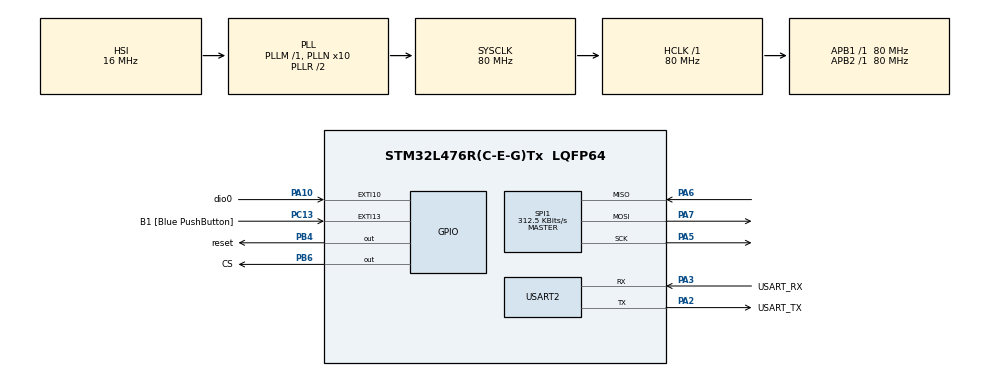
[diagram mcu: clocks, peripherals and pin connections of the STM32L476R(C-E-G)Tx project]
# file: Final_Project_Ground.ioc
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Mcu.Family=STM32L4
Mcu.Name=STM32L476R(C-E-G)Tx
Mcu.Package=LQFP64
NVIC.EXTI15_10_IRQn=true\:0\:0\:false\:false\:true\:true\:true
NVIC.PriorityGroup=NVIC_PRIORITYGROUP_4
NVIC.USART2_IRQn=true\:0\:0\:false\:false\:true\:true\:true
PA10.GPIO_Label=dio0
PA10.Signal=GPXTI10
PA13\ (JTMS-SWDIO).GPIO_Label=TMS
PA13\ (JTMS-SWDIO).Mode=Serial_Wire
PA13\ (JTMS-SWDIO).Signal=SYS_JTMS-SWDIO
PA14\ (JTCK-SWCLK).GPIO_Label=TCK
PA14\ (JTCK-SWCLK).Mode=Serial_Wire
PA14\ (JTCK-SWCLK).Signal=SYS_JTCK-SWCLK
PA2.GPIO_Label=USART_TX
PA2.GPIO_Mode=GPIO_MODE_AF_PP
PA2.GPIO_PuPd=GPIO_NOPULL
PA2.GPIO_Speed=GPIO_SPEED_FREQ_VERY_HIGH
PA2.Mode=Asynchronous
PA2.Signal=USART2_TX
PA3.GPIO_Label=USART_RX
PA3.GPIO_Mode=GPIO_MODE_AF_PP
PA3.GPIO_PuPd=GPIO_NOPULL
PA3.GPIO_Speed=GPIO_SPEED_FREQ_VERY_HIGH
PA3.Mode=Asynchronous
PA3.Signal=USART2_RX
PA5.Mode=Full_Duplex_Master
PA5.Signal=SPI1_SCK
PA6.Mode=Full_Duplex_Master
PA6.Signal=SPI1_MISO
PA7.Mode=Full_Duplex_Master
PA7.Signal=SPI1_MOSI
PB3\ (JTDO-TRACESWO).GPIO_Label=SWO
PB3\ (JTDO-TRACESWO).Signal=SYS_JTDO-SWO
PB4\ (NJTRST).GPIO_Label=reset
PB4\ (NJTRST).Signal=GPIO_Output
PB6.GPIO_Label=CS
PB6.Signal=GPIO_Output
PC13.GPIO_Label=B1 [Blue PushButton]
PC13.GPIO_ModeDefaultEXTI=GPIO_MODE_IT_FALLING
PC13.GPIO_PuPd=GPIO_NOPULL
PC13.Signal=GPXTI13
PC14-OSC32_IN\ (PC14).Mode=LSE-External-Oscillator
PC14-OSC32_IN\ (PC14).Signal=RCC_OSC32_IN
PC15-OSC32_OUT\ (PC15).Mode=LSE-External-Oscillator
PC15-OSC32_OUT\ (PC15).Signal=RCC_OSC32_OUT
PH0-OSC_IN\ (PH0).Signal=RCC_OSC_IN
PH1-OSC_OUT\ (PH1).Signal=RCC_OSC_OUT
ProjectManager.HeapSize=0x200
ProjectManager.StackSize=0x400
ProjectManager.TargetToolchain=STM32CubeIDE
RCC.ADCFreq_Value=64000000
RCC.AHBFreq_Value=80000000
RCC.APB1Freq_Value=80000000
RCC.APB1TimFreq_Value=80000000
RCC.APB2Freq_Value=80000000
RCC.APB2TimFreq_Value=80000000
RCC.CortexFreq_Value=80000000
RCC.HCLKFreq_Value=80000000
RCC.HSE_VALUE=8000000
RCC.HSI_VALUE=16000000
RCC.MSI_VALUE=4000000
RCC.PLLN=10
RCC.PLLSourceVirtual=RCC_PLLSOURCE_HSI
RCC.PREFETCH_ENABLE=1
RCC.SYSCLKFreq_VALUE=80000000
RCC.SYSCLKSource=RCC_SYSCLKSOURCE_PLLCLK
RCC.USBFreq_Value=64000000
RCC.VCOOutputFreq_Value=160000000
SPI1.BaudRatePrescaler=SPI_BAUDRATEPRESCALER_256
SPI1.CalculateBaudRate=312.5 KBits/s
SPI1.DataSize=SPI_DATASIZE_8BIT
SPI1.Direction=SPI_DIRECTION_2LINES
SPI1.Mode=SPI_MODE_MASTER
SPI1.VirtualType=VM_MASTER
USART2.VirtualMode-Asynchronous=VM_ASYNC
board=NUCLEO-L476RG

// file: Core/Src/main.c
/* USER CODE BEGIN Header */
/**
 ******************************************************************************
 * @file           : main.c
 * @brief          : Main program body
 ******************************************************************************
 * @attention
 *
 * <h2><center>&copy; Copyright (c) 2021 STMicroelectronics.
 * All rights reserved.</center></h2>
 *
 * This software component is licensed by ST under BSD 3-Clause license,
 * the "License"; You may not use this file except in compliance with the
 * License. You may obtain a copy of the License at:
 *                        opensource.org/licenses/BSD-3-Clause
 *
 ******************************************************************************
 */

/*
 * --//PROJECT NAME\\--
 Ground Node.

 * --//PROJECT DESCRIPTION\\--
 @brief
 This project will send translated commands to the remote node. And receive results from the remote node.

 * --//PROJECT STATUS\\--
 Complete.
 *
 * --//TASKS AT HAND\\--
 Nothing.
 *
 * --//NOTES\\--
 * Ground code status update: complete.

 Commands entered in the CLI are parsed and translated.
 Incorrect commands are notified to the user.
 Received data from remote is transmitted to putty.

 The commands are as follows:
 1. led on
 2. led off
 3. transmit [message]
 4. read temp
 5. add [int] [int]
 6. subtract [int] [int]
 7. multiply [int] [int]
 8. divide [int] [int]
 9. exponent [int] [int]
 10. factorial [int]

 The commands are translated into the following api, stored in an uint8 array, and sent to the receiver.
 Int's must be single digit.
 1. 00
 2. 01
 3. 1[message]
 4. 21
 5. 3[int][int]
 6. 4[int][int]
 7. 5[int][int]
 8. 6[int][int]
 9. 7[int][int]
 10. 8[int]
 *
 *
 */

/* USER CODE END Header */
#include "main.h"

/* USER CODE BEGIN Includes */
#include <string.h>
#include <stdio.h>
#include <stdbool.h>
#include "LoRa.h"
/* USER CODE END Includes */

SPI_HandleTypeDef hspi1;

UART_HandleTypeDef huart2;

/* USER CODE BEGIN PV */
LoRa myLoRa;
/* USER CODE END PV */

void SystemClock_Config(void);
static void MX_GPIO_Init(void);
static void MX_USART2_UART_Init(void);
static void MX_SPI1_Init(void);

/* USER CODE BEGIN 0 */
char safe_buff[30] = { 0 }; //Global variable that holds the completed command that was typed into the PuTTy terminal.
uint8_t rx_buff[100] = { 0 }; //Global variable that holds the command as it's being entered.
uint8_t rx_char[1] = { 0 }; //Global variable. Passed in the calling of the hal-uart-interrupt-function.
int rx_complete = 0; //Global variable that represents whether the command has been completed or not.
int rx_count = 0; //Integer variable. Only used in Nolan's function, so should be local?

char global_message[100]; //This buffer is reused to send uart transmit general messages.
uint8_t tx_buff[1000]; //This buffer is reused to send uart transmit general messages.

/* USER CODE END 0 */

int main(void) {
	/* USER CODE BEGIN 1 */
	char local_message[100] = { 0 }; //Reusable buffer to store messages to be printed to usart.
	char commandArray[3][10]; //Holds the parsed command.
	char translatedCommandArray[30]; // The array of encoded commands that I'm sending to remote.

	//Clear command arrays.
	memset(&translatedCommandArray, 0, strlen((char*) translatedCommandArray));
	for (int i = 0; i < 3; i++) {
		memset(&commandArray[i], 0, strlen((char*) commandArray[i]));
	}
	/* USER CODE END 1 */

	/* MCU Configuration--------------------------------------------------------*/

	/* Reset of all peripherals, Initializes the Flash interface and the Systick. */
	HAL_Init();

	/* Configure the system clock */
	SystemClock_Config();

	/* Initialize all configured peripherals */
	MX_GPIO_Init();
	MX_USART2_UART_Init();
	MX_SPI1_Init();
	/* USER CODE BEGIN 2 */

	/*
	 * The next lines of code are used for an initial transmitting to PuTTy that the program has been run...
	 * and I can start typing into the terminal.

	 *As for why this message has to show up twice, I don't know why that is. I'm not transmitting it twice.
	 *This is one of those "weird errors". My theory is that this has to do with the flashing.
	 */
	strcpy((char*) tx_buff,
			"\r\nGround node ready for use. You may begin typing commands.\r\n");
	HAL_UART_Transmit(&huart2, tx_buff, strlen((char*) tx_buff), 500);

	/*
	 * This is the initialization of PuTTy receiving a character. It tells PuTTy, "hey,..
	 * receive the next character I'm about to type."
	 */
	HAL_UART_Receive_IT(&huart2, rx_char, 1); //Start listening for interrupts.

	//------------LORA STUFF-----------------------------------------------------

	/* MODULE SETTINGS */
	myLoRa = newLoRa();

	myLoRa.hSPIx = &hspi1;
	myLoRa.CS_port = GPIOB;
	myLoRa.CS_pin = CS_Pin;
	myLoRa.reset_port = GPIOB;
	myLoRa.reset_pin = reset_Pin;
	myLoRa.DIO0_port = dio0_GPIO_Port;
	myLoRa.DIO0_pin = dio0_Pin;

	myLoRa.frequency = 433;                              // default = 433 MHz
	myLoRa.spredingFactor = SF_7;                            // default = SF_7
	myLoRa.bandWidth = BW_62_5KHz;                  // default = BW_125KHz
	myLoRa.crcRate = CR_4_5;                        // default = CR_4_5
	myLoRa.power = POWER_20db;                // default = 20db
	myLoRa.overCurrentProtection = 120;                      // default = 100 mA
	myLoRa.preamble = 10;                              // default = 8;

	LoRa_reset(&myLoRa);
	LoRa_init(&myLoRa);

	/*The following buffer holds the number of transmissions that were attempted.*/
	//uint8_t tx_num = 0;
	/* START CONTINUOUS RECEIVING */
	LoRa_startReceiving(&myLoRa);

	/* USER CODE END 2 */

	/* Infinite loop */
	/* USER CODE BEGIN WHILE */
	while (1) {

		/*
		 * If I get a enter key, rx_complete is true.
		 */
		if (rx_complete == 1) {

			//Initializations
			int commandExists = 0;

			//Clear the command arrays in each completed-command iteration.
			for (int i = 0; i < 3; i++) {
				memset(&commandArray[i], 0, strlen((char*) commandArray[i]));
			}
			memset(&translatedCommandArray, 0,
			strlen((char*) translatedCommandArray));

			//Turning the raw data into tokens. Store these tokens in commandArray. Commands have a max of three tokens. Tokens have a max length of 10 characters -------------------------------------------------------
			const char s[2] = " ";
			char *token;
			/*Define where I'm getting tokens from*/
			token = strtok((char*) safe_buff, s);
			/* Walk through other tokens, store them to the subsequent positions of commandArray */
			int i = 0;
			while (token != NULL) {
				strcpy(commandArray[i], token);
				i++;
				/*Get the next token*/
				token = strtok(NULL, s);
			}

			//Show the user the three tokens they inputted.
			snprintf((char*) local_message, sizeof(local_message), "\r\nToken 0: %s\r\n", commandArray[0]);
			HAL_UART_Transmit(&huart2, (uint8_t*) local_message, 	strlen(local_message), 200);
			snprintf((char*) local_message, sizeof(local_message), "Token 1: %s\r\n", commandArray[1]);
			HAL_UART_Transmit(&huart2, (uint8_t*) local_message, strlen(local_message), 200);
			snprintf((char*) local_message, sizeof(local_message), 	"Token 2: %s\r\n", commandArray[2]);
			HAL_UART_Transmit(&huart2, (uint8_t*) local_message, strlen(local_message), 200);

			//Convert the commandArray (array of words) to translatedCommandArray (array of integers that will be sent to ground.)--------------------------------------------
			if (strcmp(commandArray[0], "led") == 0) {
				strcat(translatedCommandArray, "0");
				if (strcmp(commandArray[1], "on") == 0) {
					strcat(translatedCommandArray, "0");
					commandExists = 1;
				} else if (strcmp(commandArray[1], "off") == 0) {
					strcat(translatedCommandArray, "1");
					commandExists = 1;
				}
			} else if (strcmp(commandArray[0], "transmit") == 0) {
				strcat(translatedCommandArray, "1");
				strcat(translatedCommandArray, commandArray[1]);
				commandExists = 1;
			} else if (strcmp(commandArray[0], "read") == 0) {
				strcat(translatedCommandArray, "2");
				if (strcmp(commandArray[1], "temp") == 0) {
					strcat(translatedCommandArray, "1");
					commandExists = 1;
				} else if (strcmp(commandArray[1], "photo") == 0) {
					strcat(translatedCommandArray, "2");
					commandExists = 1;
				} else if (strcmp(commandArray[1], "buzz") == 0) {
					strcat(translatedCommandArray, "3");
					commandExists = 1;
				}
			}
				//For the math, copy the two last tokens in command array into the two last positions of translatedCommandArray
				else if (strcmp(commandArray[0], "add") == 0) {
					strcat(translatedCommandArray, "3");
					strcat(translatedCommandArray, commandArray[1]); //argument 1 of the add command
					strcat(translatedCommandArray, commandArray[2]); //argument 2 of the add command
					commandExists = 1;
				} else if (strcmp(commandArray[0], "subtract") == 0) {
					strcat(translatedCommandArray, "4");
					strcat(translatedCommandArray, commandArray[1]);
					strcat(translatedCommandArray, commandArray[2]);
					commandExists = 1;
				} else if (strcmp(commandArray[0], "multiply") == 0) {
					strcat(translatedCommandArray, "5");
					strcat(translatedCommandArray, commandArray[1]);
					strcat(translatedCommandArray, commandArray[2]);
					commandExists = 1;
				} else if (strcmp(commandArray[0], "divide") == 0) {
					strcat(translatedCommandArray, "6");
					strcat(translatedCommandArray, commandArray[1]);
					strcat(translatedCommandArray, commandArray[2]);
					commandExists = 1;
				} else if (strcmp(commandArray[0], "exponent") == 0) {
					strcat(translatedCommandArray, "7");
					strcat(translatedCommandArray, commandArray[1]);
					strcat(translatedCommandArray, commandArray[2]);
					commandExists = 1;
				}
				//Take the factorial of the second token.
				else if (strcmp(commandArray[0], "factorial") == 0) {
					strcat(translatedCommandArray, "8");
					strcat(translatedCommandArray, commandArray[1]);
					commandExists = 1;
				}

				//Processing on what to do whether or not the command exists or not.
				if (commandExists == 0) { //The command does not exist.

					snprintf((char*) local_message, sizeof(local_message), "\r\nThat command does not exist. Please try again.\r\n\r\n");
					HAL_UART_Transmit(&huart2, (uint8_t*) local_message, strlen(local_message), 200);

				} else { //The command exists.

					//Print the contents of the translatedCommandArray.
					snprintf((char*) local_message, sizeof(local_message), "translatedCommandArray: %s\r\n", translatedCommandArray);
					HAL_UART_Transmit(&huart2, (uint8_t*) local_message, strlen(local_message), 200);

					snprintf((char*) local_message, sizeof(local_message), "\r\nThat command exists.\r\n");
					HAL_UART_Transmit(&huart2, (uint8_t*) local_message, strlen(local_message), 200);

					//LoRa functionality
					uint8_t tx_res = LoRa_transmit(&myLoRa, (uint8_t*) translatedCommandArray, strlen((char*) translatedCommandArray), 1000);
					sprintf((char*) tx_buff, "\r\nTx Result: %u\r\n\r\n", tx_res);
					HAL_UART_Transmit(&huart2, tx_buff, strlen((char*) tx_buff), 1000);
					LoRa_startReceiving(&myLoRa);
				}

				/*
				 * IMPORTANT. Reset rx_complete. Otherwise the rx complete code will run all the time.
				 */
				rx_complete = 0;

			/* USER CODE END WHILE */

		}
	}
}

void SystemClock_Config(void) {
	RCC_OscInitTypeDef RCC_OscInitStruct = { 0 };
	RCC_ClkInitTypeDef RCC_ClkInitStruct = { 0 };

	/** Configure the main internal regulator output voltage
	 */
	if (HAL_PWREx_ControlVoltageScaling(PWR_REGULATOR_VOLTAGE_SCALE1)
			!= HAL_OK) {
		Error_Handler();
	}
	/** Initializes the RCC Oscillators according to the specified parameters
	 * in the RCC_OscInitTypeDef structure.
	 */
	RCC_OscInitStruct.OscillatorType = RCC_OSCILLATORTYPE_HSI;
	RCC_OscInitStruct.HSIState = RCC_HSI_ON;
	RCC_OscInitStruct.HSICalibrationValue = RCC_HSICALIBRATION_DEFAULT;
	RCC_OscInitStruct.PLL.PLLState = RCC_PLL_ON;
	RCC_OscInitStruct.PLL.PLLSource = RCC_PLLSOURCE_HSI;
	RCC_OscInitStruct.PLL.PLLM = 1;
	RCC_OscInitStruct.PLL.PLLN = 10;
	RCC_OscInitStruct.PLL.PLLP = RCC_PLLP_DIV7;
	RCC_OscInitStruct.PLL.PLLQ = RCC_PLLQ_DIV2;
	RCC_OscInitStruct.PLL.PLLR = RCC_PLLR_DIV2;
	if (HAL_RCC_OscConfig(&RCC_OscInitStruct) != HAL_OK) {
		Error_Handler();
	}
	/** Initializes the CPU, AHB and APB buses clocks
	 */
	RCC_ClkInitStruct.ClockType = RCC_CLOCKTYPE_HCLK | RCC_CLOCKTYPE_SYSCLK
			| RCC_CLOCKTYPE_PCLK1 | RCC_CLOCKTYPE_PCLK2;
	RCC_ClkInitStruct.SYSCLKSource = RCC_SYSCLKSOURCE_PLLCLK;
	RCC_ClkInitStruct.AHBCLKDivider = RCC_SYSCLK_DIV1;
	RCC_ClkInitStruct.APB1CLKDivider = RCC_HCLK_DIV1;
	RCC_ClkInitStruct.APB2CLKDivider = RCC_HCLK_DIV1;

	if (HAL_RCC_ClockConfig(&RCC_ClkInitStruct, FLASH_LATENCY_4) != HAL_OK) {
		Error_Handler();
	}
}

static void MX_SPI1_Init(void) {

	/* SPI1 parameter configuration*/
	hspi1.Instance = SPI1;
	hspi1.Init.Mode = SPI_MODE_MASTER;
	hspi1.Init.Direction = SPI_DIRECTION_2LINES;
	hspi1.Init.DataSize = SPI_DATASIZE_8BIT;
	hspi1.Init.CLKPolarity = SPI_POLARITY_LOW;
	hspi1.Init.CLKPhase = SPI_PHASE_1EDGE;
	hspi1.Init.NSS = SPI_NSS_SOFT;
	hspi1.Init.BaudRatePrescaler = SPI_BAUDRATEPRESCALER_256;
	hspi1.Init.FirstBit = SPI_FIRSTBIT_MSB;
	hspi1.Init.TIMode = SPI_TIMODE_DISABLE;
	hspi1.Init.CRCCalculation = SPI_CRCCALCULATION_DISABLE;
	hspi1.Init.CRCPolynomial = 7;
	hspi1.Init.CRCLength = SPI_CRC_LENGTH_DATASIZE;
	hspi1.Init.NSSPMode = SPI_NSS_PULSE_ENABLE;
	if (HAL_SPI_Init(&hspi1) != HAL_OK) {
		Error_Handler();
	}

}

static void MX_USART2_UART_Init(void) {

	huart2.Instance = USART2;
	huart2.Init.BaudRate = 115200;
	huart2.Init.WordLength = UART_WORDLENGTH_8B;
	huart2.Init.StopBits = UART_STOPBITS_1;
	huart2.Init.Parity = UART_PARITY_NONE;
	huart2.Init.Mode = UART_MODE_TX_RX;
	huart2.Init.HwFlowCtl = UART_HWCONTROL_NONE;
	huart2.Init.OverSampling = UART_OVERSAMPLING_16;
	huart2.Init.OneBitSampling = UART_ONE_BIT_SAMPLE_DISABLE;
	huart2.AdvancedInit.AdvFeatureInit = UART_ADVFEATURE_NO_INIT;
	if (HAL_UART_Init(&huart2) != HAL_OK) {
		Error_Handler();
	}

}

static void MX_GPIO_Init(void) {
	GPIO_InitTypeDef GPIO_InitStruct = { 0 };

	/* GPIO Ports Clock Enable */
	__HAL_RCC_GPIOC_CLK_ENABLE();
	__HAL_RCC_GPIOH_CLK_ENABLE();
	__HAL_RCC_GPIOA_CLK_ENABLE();
	__HAL_RCC_GPIOB_CLK_ENABLE();

	/*Configure GPIO pin Output Level */
	HAL_GPIO_WritePin(GPIOB, reset_Pin | CS_Pin, GPIO_PIN_RESET);

	/*Configure GPIO pin : B1_Pin */
	GPIO_InitStruct.Pin = B1_Pin;
	GPIO_InitStruct.Mode = GPIO_MODE_IT_FALLING;
	GPIO_InitStruct.Pull = GPIO_NOPULL;
	HAL_GPIO_Init(B1_GPIO_Port, &GPIO_InitStruct);

	/*Configure GPIO pin : dio0_Pin */
	GPIO_InitStruct.Pin = dio0_Pin;
	GPIO_InitStruct.Mode = GPIO_MODE_IT_RISING;
	GPIO_InitStruct.Pull = GPIO_NOPULL;
	HAL_GPIO_Init(dio0_GPIO_Port, &GPIO_InitStruct);

	/*Configure GPIO pins : reset_Pin CS_Pin */
	GPIO_InitStruct.Pin = reset_Pin | CS_Pin;
	GPIO_InitStruct.Mode = GPIO_MODE_OUTPUT_PP;
	GPIO_InitStruct.Pull = GPIO_NOPULL;
	GPIO_InitStruct.Speed = GPIO_SPEED_FREQ_LOW;
	HAL_GPIO_Init(GPIOB, &GPIO_InitStruct);

	/* EXTI interrupt init*/
	HAL_NVIC_SetPriority(EXTI15_10_IRQn, 0, 0);
	HAL_NVIC_EnableIRQ(EXTI15_10_IRQn);

}

/* USER CODE BEGIN 4 */
void HAL_UART_RxCpltCallback(UART_HandleTypeDef *huart) {
	if (huart->Instance == huart2.Instance) {

		switch (*rx_char) {
		// if we receive a carriage return, newline, or null terminator, then we have received a complete command
		case '\r':
		case '\n':
		case '\0': {

			strcpy((char*) safe_buff, (char*) rx_buff);

			memset(rx_buff, 0, sizeof(rx_buff));
			rx_count = 0;

			rx_complete = 1;

			break;
		}
			/*
			 * FIXME: When user back spaces, the data may reflect that the user backspaced, but when the user sends the command,
			 * the command comes back as unrecognized. Probably because there is some interfering data being left into the incoming_command buffer.
			 *
			 * To replicate error: type in a command, hit back space, then fill out the rest of the command, then hit enter. You will get an unrecognized command error
			 * even though you typed it in correctly.
			 */
			// if we have received a backspace character, then delete the last received character
			//case '\b':
		case 127: {
			// set current buffer position to 0; if we are not already at index 0 then move back one index and set that value to 0 as well
			//if (rx_count > 0)

			if (rx_count > 0) {
				rx_count--;
				rx_buff[rx_count] = 0;
				uint8_t show_input[50];
				strcpy((char*) show_input, (char*) rx_char);
				HAL_UART_Transmit(&huart2, show_input,
						strlen((char*) show_input), 1000);
			}
			//rx_buff[rx_count] = 0;

			break;
		}

			// we have received some other character, store it to the array
		default: {
			rx_buff[rx_count] = *rx_char;
			rx_count++;
			uint8_t show_input[50];
			strcpy((char*) show_input, (char*) rx_char);
			HAL_UART_Transmit(&huart2, show_input, strlen((char*) show_input),
					1000);
			break;
		}
		}

		*rx_char = 0; //In the switch statement, one of the cases is a 0, so I assume this is necessary.

		/*
		 * Leave the following line in the function. If I remove it, the user will only
		 * be able to call a single interrupt, thus only be able to type a single
		 * character into putty.
		 */
		HAL_UART_Receive_IT(&huart2, rx_char, 1);
	}
}

void HAL_GPIO_EXTI_Callback(uint16_t GPIO_Pin) {
	//INITIALIZATION OF VARIABLES
	char local_message[100]; //Local buffer used for displaying general messages.
	int rssi = LoRa_getRSSI(&myLoRa); //Local variable for the "Received Signal Strength Indicator"
	char *received_data[128]; //Initialize/create a pointer to a character buffer called received_data of size 30.
	memset(received_data, 0, 128); //Copies 0 to all 30 cells of my received_data buffer.
	uint8_t packet_size = 0;
	packet_size = LoRa_receive(&myLoRa, received_data, 30);

	//PRINTING INFORMATION ABOUT THE RAW DATA RECEIVED.
	snprintf((char*) local_message, sizeof(local_message),
			"Packet size: %d\n\r", packet_size);
	HAL_UART_Transmit(&huart2, (uint8_t*) local_message, strlen(local_message),
			200);
	snprintf((char*) local_message, sizeof(local_message),
			"Received data: %s\n\r", received_data);
	HAL_UART_Transmit(&huart2, (uint8_t*) local_message, strlen(local_message),
			200);
	snprintf((char*) local_message, sizeof(local_message), "RSSI value: %d\n\r",
			rssi);
	HAL_UART_Transmit(&huart2, (uint8_t*) local_message, strlen(local_message),
			200);

}

/* USER CODE END 4 */

void Error_Handler(void) {
	__disable_irq();
	while (1) {
	}
}
